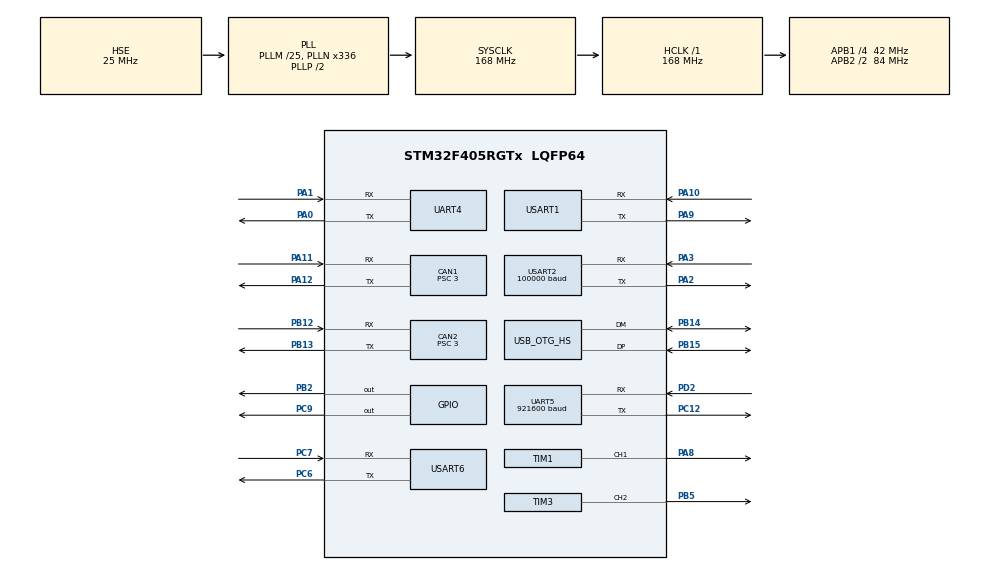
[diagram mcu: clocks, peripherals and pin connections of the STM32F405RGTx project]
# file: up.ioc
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CAN1.ABOM=ENABLE
CAN1.AWUM=ENABLE
CAN1.BS1=CAN_BS1_10TQ
CAN1.BS2=CAN_BS2_3TQ
CAN1.CalculateBaudRate=1000000
CAN1.CalculateTimeBit=1000
CAN1.CalculateTimeQuantum=71.42857142857143
CAN1.NART=ENABLE
CAN1.Prescaler=3
CAN2.ABOM=ENABLE
CAN2.AWUM=ENABLE
CAN2.BS1=CAN_BS1_10TQ
CAN2.BS2=CAN_BS2_3TQ
CAN2.CalculateBaudRate=1000000
CAN2.CalculateTimeBit=1000
CAN2.CalculateTimeQuantum=71.42857142857143
CAN2.NART=ENABLE
CAN2.Prescaler=3
Dma.Request0=USART2_RX
Dma.Request1=UART5_RX
Dma.Request2=UART4_TX
Dma.Request3=UART4_RX
Dma.Request4=TIM1_CH1
Dma.Request5=USART1_RX
Dma.TIM1_CH1.4.Direction=DMA_MEMORY_TO_PERIPH
Dma.TIM1_CH1.4.FIFOMode=DMA_FIFOMODE_DISABLE
Dma.TIM1_CH1.4.Instance=DMA2_Stream1
Dma.TIM1_CH1.4.MemDataAlignment=DMA_MDATAALIGN_HALFWORD
Dma.TIM1_CH1.4.MemInc=DMA_MINC_ENABLE
Dma.TIM1_CH1.4.Mode=DMA_CIRCULAR
Dma.TIM1_CH1.4.PeriphDataAlignment=DMA_PDATAALIGN_HALFWORD
Dma.TIM1_CH1.4.PeriphInc=DMA_PINC_DISABLE
Dma.TIM1_CH1.4.Priority=DMA_PRIORITY_LOW
Dma.UART4_RX.3.Direction=DMA_PERIPH_TO_MEMORY
Dma.UART4_RX.3.FIFOMode=DMA_FIFOMODE_DISABLE
Dma.UART4_RX.3.Instance=DMA1_Stream2
Dma.UART4_RX.3.MemDataAlignment=DMA_MDATAALIGN_BYTE
Dma.UART4_RX.3.MemInc=DMA_MINC_ENABLE
Dma.UART4_RX.3.Mode=DMA_CIRCULAR
Dma.UART4_RX.3.PeriphDataAlignment=DMA_PDATAALIGN_BYTE
Dma.UART4_RX.3.PeriphInc=DMA_PINC_DISABLE
Dma.UART4_RX.3.Priority=DMA_PRIORITY_LOW
Dma.UART4_TX.2.Direction=DMA_MEMORY_TO_PERIPH
Dma.UART4_TX.2.FIFOMode=DMA_FIFOMODE_DISABLE
Dma.UART4_TX.2.Instance=DMA1_Stream4
Dma.UART4_TX.2.MemDataAlignment=DMA_MDATAALIGN_BYTE
Dma.UART4_TX.2.MemInc=DMA_MINC_ENABLE
Dma.UART4_TX.2.Mode=DMA_NORMAL
Dma.UART4_TX.2.PeriphDataAlignment=DMA_PDATAALIGN_BYTE
Dma.UART4_TX.2.PeriphInc=DMA_PINC_DISABLE
Dma.UART4_TX.2.Priority=DMA_PRIORITY_VERY_HIGH
Dma.UART5_RX.1.Direction=DMA_PERIPH_TO_MEMORY
Dma.UART5_RX.1.FIFOMode=DMA_FIFOMODE_DISABLE
Dma.UART5_RX.1.Instance=DMA1_Stream0
Dma.UART5_RX.1.MemDataAlignment=DMA_MDATAALIGN_BYTE
Dma.UART5_RX.1.MemInc=DMA_MINC_ENABLE
Dma.UART5_RX.1.Mode=DMA_NORMAL
Dma.UART5_RX.1.PeriphDataAlignment=DMA_PDATAALIGN_BYTE
Dma.UART5_RX.1.PeriphInc=DMA_PINC_DISABLE
Dma.UART5_RX.1.Priority=DMA_PRIORITY_HIGH
Dma.USART1_RX.5.Direction=DMA_PERIPH_TO_MEMORY
Dma.USART1_RX.5.FIFOMode=DMA_FIFOMODE_DISABLE
Dma.USART1_RX.5.Instance=DMA2_Stream5
Dma.USART1_RX.5.MemDataAlignment=DMA_MDATAALIGN_BYTE
Dma.USART1_RX.5.MemInc=DMA_MINC_ENABLE
Dma.USART1_RX.5.Mode=DMA_CIRCULAR
Dma.USART1_RX.5.PeriphDataAlignment=DMA_PDATAALIGN_BYTE
Dma.USART1_RX.5.PeriphInc=DMA_PINC_DISABLE
Dma.USART1_RX.5.Priority=DMA_PRIORITY_LOW
Dma.USART2_RX.0.Direction=DMA_PERIPH_TO_MEMORY
Dma.USART2_RX.0.FIFOMode=DMA_FIFOMODE_ENABLE
Dma.USART2_RX.0.FIFOThreshold=DMA_FIFO_THRESHOLD_HALFFULL
Dma.USART2_RX.0.Instance=DMA1_Stream5
Dma.USART2_RX.0.MemBurst=DMA_MBURST_SINGLE
Dma.USART2_RX.0.MemDataAlignment=DMA_MDATAALIGN_BYTE
Dma.USART2_RX.0.MemInc=DMA_MINC_ENABLE
Dma.USART2_RX.0.Mode=DMA_CIRCULAR
Dma.USART2_RX.0.PeriphBurst=DMA_PBURST_SINGLE
Dma.USART2_RX.0.PeriphDataAlignment=DMA_PDATAALIGN_BYTE
Dma.USART2_RX.0.PeriphInc=DMA_PINC_DISABLE
Dma.USART2_RX.0.Priority=DMA_PRIORITY_VERY_HIGH
FREERTOS.INCLUDE_vTaskDelayUntil=1
FREERTOS.Tasks01=defaultTask,0,128,StartDefaultTask,Default,NULL,Dynamic,NULL,NULL;system_state_ta,3,256,SYSTEM_STATE_TASK,Default,NULL,Dynamic,NULL,NULL;gimbal_task,2,256,GIMBAL_TASK,Default,NULL,Dynamic,NULL,NULL;imu_task,3,128,IMU_TASK,Default,NULL,Dynamic,NULL,NULL;shoot_task,2,256,SHOOT_TASK,Default,NULL,Dynamic,NULL,NULL;visual_task,2,256,VISUAL_TASK,Default,NULL,Dynamic,NULL,NULL
IWDG.Prescaler=IWDG_PRESCALER_32
IWDG.Reload=200
Mcu.Family=STM32F4
Mcu.Name=STM32F405RGTx
Mcu.Package=LQFP64
NVIC.CAN1_RX0_IRQn=true\:5\:0\:false\:false\:true\:true\:true\:true\:true
NVIC.CAN2_RX0_IRQn=true\:5\:0\:false\:false\:true\:true\:true\:true\:true
NVIC.DMA1_Stream0_IRQn=true\:5\:0\:false\:false\:true\:true\:false\:true\:true
NVIC.DMA1_Stream2_IRQn=true\:5\:0\:false\:false\:true\:true\:false\:true\:true
NVIC.DMA1_Stream4_IRQn=true\:5\:0\:false\:false\:true\:true\:false\:true\:true
NVIC.DMA1_Stream5_IRQn=true\:5\:0\:false\:false\:true\:true\:false\:true\:true
NVIC.DMA2_Stream1_IRQn=true\:5\:0\:false\:false\:true\:true\:false\:true\:true
NVIC.DMA2_Stream5_IRQn=true\:5\:0\:false\:false\:true\:true\:false\:true\:true
NVIC.OTG_HS_IRQn=true\:5\:0\:true\:false\:true\:true\:true\:true\:true
NVIC.PriorityGroup=NVIC_PRIORITYGROUP_4
NVIC.TIM8_TRG_COM_TIM14_IRQn=true\:15\:0\:false\:false\:true\:false\:false\:true\:true
NVIC.TimeBase=TIM8_TRG_COM_TIM14_IRQn
NVIC.TimeBaseIP=TIM14
NVIC.UART4_IRQn=true\:5\:0\:false\:false\:true\:true\:true\:true\:true
NVIC.UART5_IRQn=true\:5\:0\:false\:false\:true\:true\:true\:true\:true
NVIC.USART1_IRQn=true\:5\:0\:true\:false\:true\:true\:true\:true\:true
NVIC.USART2_IRQn=true\:5\:0\:false\:false\:true\:true\:true\:true\:true
NVIC.USART6_IRQn=true\:5\:0\:false\:false\:true\:true\:true\:true\:true
PA0-WKUP.Mode=Asynchronous
PA0-WKUP.Signal=UART4_TX
PA1.Mode=Asynchronous
PA1.Signal=UART4_RX
PA10.Mode=Asynchronous
PA10.Signal=USART1_RX
PA11.Mode=CAN_Activate
PA11.Signal=CAN1_RX
PA12.Mode=CAN_Activate
PA12.Signal=CAN1_TX
PA13.Mode=Serial_Wire
PA13.Signal=SYS_JTMS-SWDIO
PA14.Mode=Serial_Wire
PA14.Signal=SYS_JTCK-SWCLK
PA2.Mode=Asynchronous
PA2.Signal=USART2_TX
PA3.Mode=Asynchronous
PA3.Signal=USART2_RX
PA8.Signal=S_TIM1_CH1
PA9.Mode=Asynchronous
PA9.Signal=USART1_TX
PB12.Mode=CAN_Activate
PB12.Signal=CAN2_RX
PB13.Mode=CAN_Activate
PB13.Signal=CAN2_TX
PB14.Mode=Device_Only_FS
PB14.Signal=USB_OTG_HS_DM
PB15.Mode=Device_Only_FS
PB15.Signal=USB_OTG_HS_DP
PB2.GPIO_Speed=GPIO_SPEED_FREQ_MEDIUM
PB2.Signal=GPIO_Output
PB5.Signal=S_TIM3_CH2
PC12.Mode=Asynchronous
PC12.Signal=UART5_TX
PC6.Mode=Asynchronous
PC6.Signal=USART6_TX
PC7.Mode=Asynchronous
PC7.Signal=USART6_RX
PC9.GPIO_Speed=GPIO_SPEED_FREQ_MEDIUM
PC9.Signal=GPIO_Output
PD2.Mode=Asynchronous
PD2.Signal=UART5_RX
PH0-OSC_IN.Mode=HSE-External-Oscillator
PH0-OSC_IN.Signal=RCC_OSC_IN
PH1-OSC_OUT.Mode=HSE-External-Oscillator
PH1-OSC_OUT.Signal=RCC_OSC_OUT
ProjectManager.HeapSize=0x200
ProjectManager.StackSize=0x400
ProjectManager.TargetToolchain=MDK-ARM V5.32
RCC.48MHZClocksFreq_Value=48000000
RCC.AHBFreq_Value=168000000
RCC.APB1CLKDivider=RCC_HCLK_DIV4
RCC.APB1Freq_Value=42000000
RCC.APB1TimFreq_Value=84000000
RCC.APB2CLKDivider=RCC_HCLK_DIV2
RCC.APB2Freq_Value=84000000
RCC.APB2TimFreq_Value=168000000
RCC.CortexFreq_Value=168000000
RCC.HCLKFreq_Value=168000000
RCC.HSE_VALUE=25000000
RCC.HSI_VALUE=16000000
RCC.LSE_VALUE=32768
RCC.PLLM=25
RCC.PLLN=336
RCC.PLLQ=7
RCC.SYSCLKFreq_VALUE=168000000
RCC.SYSCLKSource=RCC_SYSCLKSOURCE_PLLCLK
RCC.VCOOutputFreq_Value=336000000
SH.S_TIM1_CH1.0=TIM1_CH1,PWM Generation1 CH1
SH.S_TIM3_CH2.0=TIM3_CH2,PWM Generation2 CH2
TIM1.Channel-PWM\ Generation1\ CH1=TIM_CHANNEL_1
TIM1.Period=210-1
TIM3.AutoReloadPreload=TIM_AUTORELOAD_PRELOAD_ENABLE
TIM3.Channel-PWM\ Generation2\ CH2=TIM_CHANNEL_2
TIM3.Period=20000-1
TIM3.Prescaler=84-1
UART4.VirtualMode=Asynchronous
UART5.BaudRate=921600
UART5.VirtualMode=Asynchronous
USART1.VirtualMode=VM_ASYNC
USART2.BaudRate=100000
USART2.Parity=PARITY_EVEN
USART2.VirtualMode=VM_ASYNC
USART2.WordLength=WORDLENGTH_9B
USART6.VirtualMode=VM_ASYNC
USB_DEVICE.CLASS_NAME_HS=CDC
USB_DEVICE.VirtualMode-CDC_HS=Cdc
USB_DEVICE.VirtualModeHS=Cdc_HS
USB_OTG_HS.VirtualMode-Device_Only_FS=Device_Only_FS
VP_FREERTOS_VS_CMSIS_V1.Mode=CMSIS_V1
VP_IWDG_VS_IWDG.Mode=IWDG_Activate
VP_SYS_VS_tim14.Mode=TIM14
VP_USB_DEVICE_VS_USB_DEVICE_CDC_HS.Mode=CDC_HS
board=custom

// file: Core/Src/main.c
/* USER CODE BEGIN Header */
/**
  ******************************************************************************
  * @file           : main.c
  * @brief          : Main program body
  ******************************************************************************
  * @attention
  *
  * Copyright (c) 2023 STMicroelectronics.
  * All rights reserved.
  *
  * This software is licensed under terms that can be found in the LICENSE file
  * in the root directory of this software component.
  * If no LICENSE file comes with this software, it is provided AS-IS.
  *
  ******************************************************************************
  */
/* USER CODE END Header */
#include "main.h"
#include "cmsis_os.h"
#include "can.h"
#include "dma.h"
#include "iwdg.h"
#include "tim.h"
#include "usart.h"
#include "usb_device.h"
#include "gpio.h"

/* USER CODE BEGIN Includes */
#include "driver.h"
#include "device.h"
#include "system.h"
#include "vision_task.h"
#include "Trajectory_Calculation.h"

/* USER CODE END Includes */

/* USER CODE BEGIN PV */

extern struct SolveTrajectoryParams st;

/* USER CODE END PV */

void SystemClock_Config(void);
void MX_FREERTOS_Init(void);

int main(void)
{

  /* MCU Configuration--------------------------------------------------------*/

  /* Reset of all peripherals, Initializes the Flash interface and the Systick. */
  HAL_Init();

  /* Configure the system clock */
  SystemClock_Config();

  /* Initialize all configured peripherals */
  MX_GPIO_Init();
  MX_DMA_Init();
  MX_TIM1_Init();
  MX_CAN1_Init();
  MX_CAN2_Init();
  MX_USART2_UART_Init();
  MX_UART5_Init();
  MX_USART6_UART_Init();
  MX_UART4_Init();
  MX_TIM3_Init();
  MX_USART1_UART_Init();
  MX_IWDG_Init();
  /* USER CODE BEGIN 2 */
	Driver_Init();
	Motor_Init();
  Time_Init();
	Vision_Init();
	HAL_TIM_PWM_Start(&htim3,TIM_CHANNEL_2);//定时器初始化

	//定义参数
	st.k = 0.092f;
	st.bullet_type =  BULLET_17;
	st.current_v = 27;
	st.current_pitch = 0;
	st.current_yaw = 0;
//	st.xw = 3.0;
//	// st.yw = 0.0159;
//	st.yw = 0;
//	// st.zw = -0.2898;
//	st.zw = 1.5;

//	st.vxw = 0;
//	st.vyw = 0;
//	st.vzw = 0;
//	st.v_yaw = 0;
//	st.tar_yaw = 0.09131;
//	st.r1 = 0.5;
//	st.r2 = 0.5;
//	st.dz = 0.1;
	st.bias_time = 5;
	st.s_bias = -0.04034f ;
	st.z_bias = -0.10525f;
	st.armor_id = ARMOR_INFANTRY3;
	st.armor_num = ARMOR_NUM_NORMAL;

  /* USER CODE END 2 */

  /* Call init function for freertos objects (in cmsis_os2.c) */
  MX_FREERTOS_Init();

  /* Start scheduler */
  osKernelStart();

  /* We should never get here as control is now taken by the scheduler */

  /* Infinite loop */
  while (1)
  {

  }
}

void SystemClock_Config(void)
{
  RCC_OscInitTypeDef RCC_OscInitStruct = {0};
  RCC_ClkInitTypeDef RCC_ClkInitStruct = {0};

  /** Configure the main internal regulator output voltage
  */
  __HAL_RCC_PWR_CLK_ENABLE();
  __HAL_PWR_VOLTAGESCALING_CONFIG(PWR_REGULATOR_VOLTAGE_SCALE1);

  /** Initializes the RCC Oscillators according to the specified parameters
  * in the RCC_OscInitTypeDef structure.
  */
  RCC_OscInitStruct.OscillatorType = RCC_OSCILLATORTYPE_LSI|RCC_OSCILLATORTYPE_HSE;
  RCC_OscInitStruct.HSEState = RCC_HSE_ON;
  RCC_OscInitStruct.LSIState = RCC_LSI_ON;
  RCC_OscInitStruct.PLL.PLLState = RCC_PLL_ON;
  RCC_OscInitStruct.PLL.PLLSource = RCC_PLLSOURCE_HSE;
  RCC_OscInitStruct.PLL.PLLM = 25;
  RCC_OscInitStruct.PLL.PLLN = 336;
  RCC_OscInitStruct.PLL.PLLP = RCC_PLLP_DIV2;
  RCC_OscInitStruct.PLL.PLLQ = 7;
  if (HAL_RCC_OscConfig(&RCC_OscInitStruct) != HAL_OK)
  {
    Error_Handler();
  }

  /** Initializes the CPU, AHB and APB buses clocks
  */
  RCC_ClkInitStruct.ClockType = RCC_CLOCKTYPE_HCLK|RCC_CLOCKTYPE_SYSCLK
                              |RCC_CLOCKTYPE_PCLK1|RCC_CLOCKTYPE_PCLK2;
  RCC_ClkInitStruct.SYSCLKSource = RCC_SYSCLKSOURCE_PLLCLK;
  RCC_ClkInitStruct.AHBCLKDivider = RCC_SYSCLK_DIV1;
  RCC_ClkInitStruct.APB1CLKDivider = RCC_HCLK_DIV4;
  RCC_ClkInitStruct.APB2CLKDivider = RCC_HCLK_DIV2;

  if (HAL_RCC_ClockConfig(&RCC_ClkInitStruct, FLASH_LATENCY_5) != HAL_OK)
  {
    Error_Handler();
  }
}

void HAL_TIM_PeriodElapsedCallback(TIM_HandleTypeDef *htim)
{
  if (htim->Instance == TIM14) {
    HAL_IncTick();
  }
}

void Error_Handler(void)
{
  __disable_irq();
  while (1)
  {
  }
}

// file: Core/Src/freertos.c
/* USER CODE BEGIN Header */
/**
  ******************************************************************************
  * File Name          : freertos.c
  * Description        : Code for freertos applications
  ******************************************************************************
  * @attention
  *
  * Copyright (c) 2023 STMicroelectronics.
  * All rights reserved.
  *
  * This software is licensed under terms that can be found in the LICENSE file
  * in the root directory of this software component.
  * If no LICENSE file comes with this software, it is provided AS-IS.
  *
  ******************************************************************************
  */
/* USER CODE END Header */

#include "FreeRTOS.h"
#include "task.h"
#include "main.h"
#include "cmsis_os.h"

/* USER CODE BEGIN Includes */
#include "Device.h"
#include "usart.h"
/* USER CODE END Includes */

osThreadId defaultTaskHandle;
osThreadId system_state_taHandle;
osThreadId gimbal_taskHandle;
osThreadId imu_taskHandle;
osThreadId shoot_taskHandle;
osThreadId visual_taskHandle;

void StartDefaultTask(void const * argument);
void SYSTEM_STATE_TASK(void const * argument);
void GIMBAL_TASK(void const * argument);
void IMU_TASK(void const * argument);
void SHOOT_TASK(void const * argument);
void VISUAL_TASK(void const * argument);

extern void MX_USB_DEVICE_Init(void);
void MX_FREERTOS_Init(void); /* (MISRA C 2004 rule 8.1) */

/* GetIdleTaskMemory prototype (linked to static allocation support) */
void vApplicationGetIdleTaskMemory( StaticTask_t **ppxIdleTaskTCBBuffer, StackType_t **ppxIdleTaskStackBuffer, uint32_t *pulIdleTaskStackSize );

/* USER CODE BEGIN GET_IDLE_TASK_MEMORY */
static StaticTask_t xIdleTaskTCBBuffer;
static StackType_t xIdleStack[configMINIMAL_STACK_SIZE];

void vApplicationGetIdleTaskMemory( StaticTask_t **ppxIdleTaskTCBBuffer, StackType_t **ppxIdleTaskStackBuffer, uint32_t *pulIdleTaskStackSize )
{
  *ppxIdleTaskTCBBuffer = &xIdleTaskTCBBuffer;
  *ppxIdleTaskStackBuffer = &xIdleStack[0];
  *pulIdleTaskStackSize = configMINIMAL_STACK_SIZE;
  /* place for user code */
}
/* USER CODE END GET_IDLE_TASK_MEMORY */

void MX_FREERTOS_Init(void) {

  /* Create the thread(s) */
  /* definition and creation of defaultTask */
  osThreadDef(defaultTask, StartDefaultTask, osPriorityNormal, 0, 128);
  defaultTaskHandle = osThreadCreate(osThread(defaultTask), NULL);

  /* definition and creation of system_state_ta */
  osThreadDef(system_state_ta, SYSTEM_STATE_TASK, osPriorityRealtime, 0, 256);
  system_state_taHandle = osThreadCreate(osThread(system_state_ta), NULL);

  /* definition and creation of gimbal_task */
  osThreadDef(gimbal_task, GIMBAL_TASK, osPriorityHigh, 0, 256);
  gimbal_taskHandle = osThreadCreate(osThread(gimbal_task), NULL);

  /* definition and creation of imu_task */
  osThreadDef(imu_task, IMU_TASK, osPriorityRealtime, 0, 128);
  imu_taskHandle = osThreadCreate(osThread(imu_task), NULL);

  /* definition and creation of shoot_task */
  osThreadDef(shoot_task, SHOOT_TASK, osPriorityHigh, 0, 256);
  shoot_taskHandle = osThreadCreate(osThread(shoot_task), NULL);

  /* definition and creation of visual_task */
  osThreadDef(visual_task, VISUAL_TASK, osPriorityHigh, 0, 256);
  visual_taskHandle = osThreadCreate(osThread(visual_task), NULL);

}

void StartDefaultTask(void const * argument)
{
  /* init code for USB_DEVICE */
  MX_USB_DEVICE_Init();
  /* USER CODE BEGIN StartDefaultTask */
  /* Infinite loop */
  for(;;)
  {
//		HAL_Delay(500);
//    HAL_GPIO_TogglePin(GPIOC, GPIO_PIN_9);
		osDelay(1);
  }
  /* USER CODE END StartDefaultTask */
}

void SYSTEM_STATE_TASK(void const * argument)
{
  /* USER CODE BEGIN SYSTEM_STATE_TASK */
  /* Infinite loop */
  uint32_t currentTime;
  for(;;)
  {
    currentTime = xTaskGetTickCount();//当前系统时间
		System_Task();
    vTaskDelayUntil(&currentTime, 2);//绝对延时
  }
  /* USER CODE END SYSTEM_STATE_TASK */
}

void GIMBAL_TASK(void const * argument)
{
  /* USER CODE BEGIN GIMBAL_TASK */
  /* Infinite loop */
	uint32_t currentTime;
  for(;;)
  {
		currentTime = xTaskGetTickCount();//当前系统时间
		Gimbal_Task();
    vTaskDelayUntil(&currentTime, 3);//绝对延时
	}

  /* USER CODE END GIMBAL_TASK */
}

void IMU_TASK(void const * argument)
{
  /* USER CODE BEGIN IMU_TASK */
		uint32_t currentTime;
  /* Infinite loop */
  for(;;)
  {
		currentTime = xTaskGetTickCount();//当前系统时间
		IMU_get();
		vTaskDelayUntil(&currentTime, 1);//绝对延时
	}
  /* USER CODE END IMU_TASK */
}

void SHOOT_TASK(void const * argument)
{
  /* USER CODE BEGIN SHOOT_TASK */
  /* Infinite loop */
	uint32_t currentTime;
  for(;;)
  {
		currentTime = xTaskGetTickCount();
		Shoot_Task();
		vTaskDelayUntil(&currentTime, 3);//绝对延时
  }
  /* USER CODE END SHOOT_TASK */
}

void VISUAL_TASK(void const * argument)
{
  /* USER CODE BEGIN VISUAL_TASK */
  /* Infinite loop */
	uint32_t currentTime;
  for(;;)
  {
		currentTime = xTaskGetTickCount();
		Visual_Task();
//		vofa_SendDate();
		vTaskDelayUntil(&currentTime, 3);//绝对延时
  }
  /* USER CODE END VISUAL_TASK */
}
